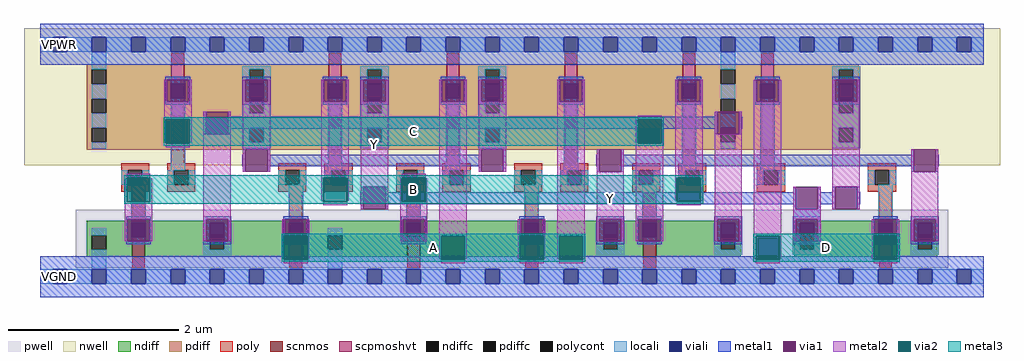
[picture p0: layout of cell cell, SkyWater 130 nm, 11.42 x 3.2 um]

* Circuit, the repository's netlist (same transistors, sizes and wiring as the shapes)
* Generated reference circuit; dimensions in micrometers.
.subckt dd2_gb2__f17ff_1 A B C D VGND VNB VPB VPWR Y
XM0 Y D _net1 VNB sky130_fd_pr__nfet_01v8 w=0.420 l=0.150
XM1 _net1 A _net2 VNB sky130_fd_pr__nfet_01v8 w=0.420 l=0.150
XM2 _net2 B VGND VNB sky130_fd_pr__nfet_01v8 w=0.420 l=0.150
XM3 _net1 C _net3 VNB sky130_fd_pr__nfet_01v8 w=0.420 l=0.150
XM4 _net3 A VGND VNB sky130_fd_pr__nfet_01v8 w=0.420 l=0.150
XM5 _net3 B VGND VNB sky130_fd_pr__nfet_01v8 w=0.420 l=0.150
XM6 Y D VPWR VPB sky130_fd_pr__pfet_01v8_hvt w=1.000 l=0.150
XM7 Y A _net4 VPB sky130_fd_pr__pfet_01v8_hvt w=1.000 l=0.150
XM8 Y B _net4 VPB sky130_fd_pr__pfet_01v8_hvt w=1.000 l=0.150
XM9 _net4 C VPWR VPB sky130_fd_pr__pfet_01v8_hvt w=1.000 l=0.150
XM10 _net4 A _net5 VPB sky130_fd_pr__pfet_01v8_hvt w=1.000 l=0.150
XM11 _net5 B VPWR VPB sky130_fd_pr__pfet_01v8_hvt w=1.000 l=0.150
.ends dd2_gb2__f17ff_1

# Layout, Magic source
magic
tech sky130A
magscale 1 2
<< nwell >>
rect -38 261 2246 582
<< pwell >>
rect 83 21 2125 157
<< scnmos >>
rect 215 47 245 131
rect 583 47 613 131
rect 859 47 889 131
rect 1135 47 1165 131
rect 1411 47 1441 131
rect 1963 47 1993 131
<< scpmoshvt >>
rect 307 297 337 497
rect 675 297 705 497
rect 951 297 981 497
rect 1227 297 1257 497
rect 1503 297 1533 497
rect 1687 297 1717 497
<< ndiff >>
rect 109 97 215 131
rect 109 63 121 97
rect 155 63 215 97
rect 109 47 215 63
rect 245 97 583 131
rect 245 63 397 97
rect 431 63 583 97
rect 245 47 583 63
rect 613 97 859 131
rect 613 63 673 97
rect 707 63 859 97
rect 613 47 859 63
rect 889 47 1135 131
rect 1165 97 1411 131
rect 1165 63 1317 97
rect 1351 63 1411 97
rect 1165 47 1411 63
rect 1441 97 1639 131
rect 1441 63 1593 97
rect 1627 63 1639 97
rect 1441 47 1639 63
rect 1765 97 1963 131
rect 1765 63 1777 97
rect 1811 63 1963 97
rect 1765 47 1963 63
rect 1993 97 2099 131
rect 1993 63 2053 97
rect 2087 63 2099 97
rect 1993 47 2099 63
<< pdiff >>
rect 109 485 307 497
rect 109 451 121 485
rect 155 451 307 485
rect 109 417 307 451
rect 109 383 121 417
rect 155 383 307 417
rect 109 349 307 383
rect 109 315 121 349
rect 155 315 307 349
rect 109 297 307 315
rect 337 485 675 497
rect 337 451 489 485
rect 523 451 675 485
rect 337 417 675 451
rect 337 383 489 417
rect 523 383 675 417
rect 337 349 675 383
rect 337 315 489 349
rect 523 315 675 349
rect 337 297 675 315
rect 705 485 951 497
rect 705 451 765 485
rect 799 451 951 485
rect 705 417 951 451
rect 705 383 765 417
rect 799 383 951 417
rect 705 349 951 383
rect 705 315 765 349
rect 799 315 951 349
rect 705 297 951 315
rect 981 485 1227 497
rect 981 451 1041 485
rect 1075 451 1227 485
rect 981 417 1227 451
rect 981 383 1041 417
rect 1075 383 1227 417
rect 981 349 1227 383
rect 981 315 1041 349
rect 1075 315 1227 349
rect 981 297 1227 315
rect 1257 297 1503 497
rect 1533 485 1687 497
rect 1533 451 1593 485
rect 1627 451 1687 485
rect 1533 417 1687 451
rect 1533 383 1593 417
rect 1627 383 1687 417
rect 1533 349 1687 383
rect 1533 315 1593 349
rect 1627 315 1687 349
rect 1533 297 1687 315
rect 1717 485 1915 497
rect 1717 451 1869 485
rect 1903 451 1915 485
rect 1717 417 1915 451
rect 1717 383 1869 417
rect 1903 383 1915 417
rect 1717 349 1915 383
rect 1717 315 1869 349
rect 1903 315 1915 349
rect 1717 297 1915 315
<< ndiffc >>
rect 121 63 155 97
rect 397 63 431 97
rect 673 63 707 97
rect 1317 63 1351 97
rect 1593 63 1627 97
rect 1777 63 1811 97
rect 2053 63 2087 97
<< pdiffc >>
rect 121 451 155 485
rect 121 383 155 417
rect 121 315 155 349
rect 489 451 523 485
rect 489 383 523 417
rect 489 315 523 349
rect 765 451 799 485
rect 765 383 799 417
rect 765 315 799 349
rect 1041 451 1075 485
rect 1041 383 1075 417
rect 1041 315 1075 349
rect 1593 451 1627 485
rect 1593 383 1627 417
rect 1593 315 1627 349
rect 1869 451 1903 485
rect 1869 383 1903 417
rect 1869 315 1903 349
<< poly >>
rect 307 497 337 523
rect 675 497 705 523
rect 951 497 981 523
rect 1227 497 1257 523
rect 1503 497 1533 523
rect 1687 497 1717 523
rect 307 265 337 297
rect 675 265 705 297
rect 951 265 981 297
rect 1227 265 1257 297
rect 1503 265 1533 297
rect 1687 265 1717 297
rect 189 249 255 265
rect 189 215 205 249
rect 239 215 255 249
rect 189 199 255 215
rect 297 249 363 265
rect 297 215 313 249
rect 347 215 363 249
rect 297 199 363 215
rect 557 249 623 265
rect 557 215 573 249
rect 607 215 623 249
rect 557 199 623 215
rect 665 249 731 265
rect 665 215 681 249
rect 715 215 731 249
rect 665 199 731 215
rect 833 249 899 265
rect 833 215 849 249
rect 883 215 899 249
rect 833 199 899 215
rect 941 249 1007 265
rect 941 215 957 249
rect 991 215 1007 249
rect 941 199 1007 215
rect 1109 249 1175 265
rect 1109 215 1125 249
rect 1159 215 1175 249
rect 1109 199 1175 215
rect 1217 249 1283 265
rect 1217 215 1233 249
rect 1267 215 1283 249
rect 1217 199 1283 215
rect 1385 249 1451 265
rect 1385 215 1401 249
rect 1435 215 1451 249
rect 1385 199 1451 215
rect 1493 249 1559 265
rect 1493 215 1509 249
rect 1543 215 1559 249
rect 1493 199 1559 215
rect 1677 249 1743 265
rect 1677 215 1693 249
rect 1727 215 1743 249
rect 1677 199 1743 215
rect 1937 249 2003 265
rect 1937 215 1953 249
rect 1987 215 2003 249
rect 1937 199 2003 215
rect 215 131 245 199
rect 583 131 613 199
rect 859 131 889 199
rect 1135 131 1165 199
rect 1411 131 1441 199
rect 1963 131 1993 199
rect 215 21 245 47
rect 583 21 613 47
rect 859 21 889 47
rect 1135 21 1165 47
rect 1411 21 1441 47
rect 1963 21 1993 47
<< polycont >>
rect 205 215 239 249
rect 313 215 347 249
rect 573 215 607 249
rect 681 215 715 249
rect 849 215 883 249
rect 957 215 991 249
rect 1125 215 1159 249
rect 1233 215 1267 249
rect 1401 215 1435 249
rect 1509 215 1543 249
rect 1693 215 1727 249
rect 1953 215 1987 249
<< locali >>
rect 0 527 29 561
rect 63 527 121 561
rect 155 527 213 561
rect 247 527 305 561
rect 339 527 397 561
rect 431 527 489 561
rect 523 527 581 561
rect 615 527 673 561
rect 707 527 765 561
rect 799 527 857 561
rect 891 527 949 561
rect 983 527 1041 561
rect 1075 527 1133 561
rect 1167 527 1225 561
rect 1259 527 1317 561
rect 1351 527 1409 561
rect 1443 527 1501 561
rect 1535 527 1593 561
rect 1627 527 1685 561
rect 1719 527 1777 561
rect 1811 527 1869 561
rect 1903 527 1961 561
rect 1995 527 2053 561
rect 2087 527 2145 561
rect 2179 527 2208 561
rect 121 485 155 527
rect 473 485 539 493
rect 121 417 155 451
rect 121 349 155 383
rect 121 299 155 315
rect 305 452 339 468
rect 305 249 339 418
rect 473 418 489 485
rect 523 418 539 485
rect 749 485 815 493
rect 473 417 539 418
rect 473 383 489 417
rect 523 383 539 417
rect 473 349 539 383
rect 473 315 489 349
rect 523 315 539 349
rect 473 301 539 315
rect 673 452 707 468
rect 673 249 707 418
rect 749 418 765 485
rect 799 418 815 485
rect 1025 485 1091 493
rect 749 417 815 418
rect 749 383 765 417
rect 799 383 815 417
rect 749 349 815 383
rect 749 315 765 349
rect 799 315 815 349
rect 749 301 815 315
rect 949 452 983 468
rect 949 249 983 418
rect 1025 418 1041 485
rect 1075 418 1091 485
rect 1593 485 1627 527
rect 1025 417 1091 418
rect 1025 383 1041 417
rect 1075 383 1091 417
rect 1025 349 1091 383
rect 1025 315 1041 349
rect 1075 315 1091 349
rect 1025 301 1091 315
rect 1225 452 1259 468
rect 1225 249 1259 418
rect 1501 452 1535 468
rect 1501 249 1535 418
rect 1853 485 1919 493
rect 1593 417 1627 451
rect 1593 349 1627 383
rect 1593 299 1627 315
rect 1685 452 1719 468
rect 1685 249 1719 418
rect 1853 418 1869 485
rect 1903 418 1919 485
rect 1853 417 1919 418
rect 1853 383 1869 417
rect 1903 383 1919 417
rect 1853 349 1919 383
rect 1853 315 1869 349
rect 1903 315 1919 349
rect 1853 301 1919 315
rect 189 215 205 249
rect 239 215 255 249
rect 297 215 313 249
rect 347 215 363 249
rect 557 215 573 249
rect 607 215 623 249
rect 665 215 681 249
rect 715 215 731 249
rect 833 215 849 249
rect 883 215 899 249
rect 941 215 957 249
rect 991 215 1007 249
rect 1109 215 1125 249
rect 1159 215 1175 249
rect 1217 215 1233 249
rect 1267 215 1283 249
rect 1385 215 1401 249
rect 1435 215 1451 249
rect 1493 215 1509 249
rect 1543 215 1559 249
rect 1677 215 1693 249
rect 1727 215 1743 249
rect 1937 215 1953 249
rect 1987 215 2003 249
rect 213 126 247 215
rect 121 97 155 113
rect 213 76 247 92
rect 381 126 447 142
rect 121 17 155 63
rect 381 63 397 126
rect 431 63 447 126
rect 581 126 615 215
rect 857 126 891 215
rect 581 76 615 92
rect 673 97 707 113
rect 381 51 447 63
rect 857 76 891 92
rect 1133 126 1167 215
rect 1133 76 1167 92
rect 1301 126 1367 142
rect 673 17 707 63
rect 1301 63 1317 126
rect 1351 63 1367 126
rect 1409 126 1443 215
rect 1409 76 1443 92
rect 1577 126 1643 142
rect 1301 51 1367 63
rect 1577 63 1593 126
rect 1627 63 1643 126
rect 1577 51 1643 63
rect 1761 126 1827 142
rect 1761 63 1777 126
rect 1811 63 1827 126
rect 1961 126 1995 215
rect 1961 76 1995 92
rect 2037 126 2103 142
rect 1761 51 1827 63
rect 2037 63 2053 126
rect 2087 63 2103 126
rect 2037 51 2103 63
rect 0 -17 29 17
rect 63 -17 121 17
rect 155 -17 213 17
rect 247 -17 305 17
rect 339 -17 397 17
rect 431 -17 489 17
rect 523 -17 581 17
rect 615 -17 673 17
rect 707 -17 765 17
rect 799 -17 857 17
rect 891 -17 949 17
rect 983 -17 1041 17
rect 1075 -17 1133 17
rect 1167 -17 1225 17
rect 1259 -17 1317 17
rect 1351 -17 1409 17
rect 1443 -17 1501 17
rect 1535 -17 1593 17
rect 1627 -17 1685 17
rect 1719 -17 1777 17
rect 1811 -17 1869 17
rect 1903 -17 1961 17
rect 1995 -17 2053 17
rect 2087 -17 2145 17
rect 2179 -17 2208 17
<< viali >>
rect 29 527 63 561
rect 121 527 155 561
rect 213 527 247 561
rect 305 527 339 561
rect 397 527 431 561
rect 489 527 523 561
rect 581 527 615 561
rect 673 527 707 561
rect 765 527 799 561
rect 857 527 891 561
rect 949 527 983 561
rect 1041 527 1075 561
rect 1133 527 1167 561
rect 1225 527 1259 561
rect 1317 527 1351 561
rect 1409 527 1443 561
rect 1501 527 1535 561
rect 1593 527 1627 561
rect 1685 527 1719 561
rect 1777 527 1811 561
rect 1869 527 1903 561
rect 1961 527 1995 561
rect 2053 527 2087 561
rect 2145 527 2179 561
rect 305 418 339 452
rect 489 451 523 452
rect 489 418 523 451
rect 673 418 707 452
rect 765 451 799 452
rect 765 418 799 451
rect 949 418 983 452
rect 1041 451 1075 452
rect 1041 418 1075 451
rect 1225 418 1259 452
rect 1501 418 1535 452
rect 1685 418 1719 452
rect 1869 451 1903 452
rect 1869 418 1903 451
rect 213 92 247 126
rect 397 97 431 126
rect 397 92 431 97
rect 581 92 615 126
rect 857 92 891 126
rect 1133 92 1167 126
rect 1317 97 1351 126
rect 1317 92 1351 97
rect 1409 92 1443 126
rect 1593 97 1627 126
rect 1593 92 1627 97
rect 1777 97 1811 126
rect 1777 92 1811 97
rect 1961 92 1995 126
rect 2053 97 2087 126
rect 2053 92 2087 97
rect 29 -17 63 17
rect 121 -17 155 17
rect 213 -17 247 17
rect 305 -17 339 17
rect 397 -17 431 17
rect 489 -17 523 17
rect 581 -17 615 17
rect 673 -17 707 17
rect 765 -17 799 17
rect 857 -17 891 17
rect 949 -17 983 17
rect 1041 -17 1075 17
rect 1133 -17 1167 17
rect 1225 -17 1259 17
rect 1317 -17 1351 17
rect 1409 -17 1443 17
rect 1501 -17 1535 17
rect 1593 -17 1627 17
rect 1685 -17 1719 17
rect 1777 -17 1811 17
rect 1869 -17 1903 17
rect 1961 -17 1995 17
rect 2053 -17 2087 17
rect 2145 -17 2179 17
<< metal1 >>
rect 0 561 2208 592
rect 0 527 29 561
rect 63 527 121 561
rect 155 527 213 561
rect 247 527 305 561
rect 339 527 397 561
rect 431 527 489 561
rect 523 527 581 561
rect 615 527 673 561
rect 707 527 765 561
rect 799 527 857 561
rect 891 527 949 561
rect 983 527 1041 561
rect 1075 527 1133 561
rect 1167 527 1225 561
rect 1259 527 1317 561
rect 1351 527 1409 561
rect 1443 527 1501 561
rect 1535 527 1593 561
rect 1627 527 1685 561
rect 1719 527 1777 561
rect 1811 527 1869 561
rect 1903 527 1961 561
rect 1995 527 2053 561
rect 2087 527 2145 561
rect 2179 527 2208 561
rect 0 496 2208 527
rect 293 461 351 468
rect 293 409 296 461
rect 348 409 351 461
rect 293 402 351 409
rect 473 461 539 468
rect 473 409 480 461
rect 532 409 539 461
rect 473 402 539 409
rect 661 461 719 468
rect 661 409 664 461
rect 716 409 719 461
rect 661 402 719 409
rect 749 461 815 468
rect 749 409 756 461
rect 808 409 815 461
rect 749 402 815 409
rect 937 461 995 468
rect 937 409 940 461
rect 992 409 995 461
rect 937 402 995 409
rect 1025 461 1091 468
rect 1025 409 1032 461
rect 1084 409 1091 461
rect 1025 402 1091 409
rect 1213 461 1271 468
rect 1213 409 1216 461
rect 1268 409 1271 461
rect 1213 402 1271 409
rect 1489 461 1547 468
rect 1489 409 1492 461
rect 1544 409 1547 461
rect 1489 402 1547 409
rect 1673 461 1731 468
rect 1673 409 1676 461
rect 1728 409 1731 461
rect 1673 402 1731 409
rect 1853 461 1919 468
rect 1853 409 1860 461
rect 1912 409 1919 461
rect 1853 402 1919 409
rect 382 374 388 386
rect 381 346 388 374
rect 382 334 388 346
rect 440 374 446 386
rect 1578 374 1584 386
rect 440 346 1584 374
rect 440 334 446 346
rect 1578 334 1584 346
rect 1636 374 1642 386
rect 1636 346 1643 374
rect 1636 334 1642 346
rect 474 286 480 298
rect 473 258 480 286
rect 474 246 480 258
rect 532 286 538 298
rect 1026 286 1032 298
rect 532 258 1032 286
rect 532 246 538 258
rect 1026 246 1032 258
rect 1084 286 1090 298
rect 1302 286 1308 298
rect 1084 258 1091 286
rect 1301 258 1308 286
rect 1084 246 1090 258
rect 1302 246 1308 258
rect 1360 286 1366 298
rect 2038 286 2044 298
rect 1360 258 2044 286
rect 1360 246 1366 258
rect 2038 246 2044 258
rect 2096 286 2102 298
rect 2096 258 2103 286
rect 2096 246 2102 258
rect 750 198 756 210
rect 749 170 756 198
rect 750 158 756 170
rect 808 198 814 210
rect 1762 198 1768 210
rect 808 170 1768 198
rect 808 158 814 170
rect 1762 158 1768 170
rect 1820 198 1826 210
rect 1854 198 1860 210
rect 1820 170 1860 198
rect 1820 158 1826 170
rect 1854 158 1860 170
rect 1912 198 1918 210
rect 1912 170 1919 198
rect 1912 158 1918 170
rect 1762 142 1826 158
rect 201 135 259 142
rect 201 83 204 135
rect 256 83 259 135
rect 201 76 259 83
rect 381 135 447 142
rect 381 83 388 135
rect 440 83 447 135
rect 381 76 447 83
rect 569 135 627 142
rect 569 83 572 135
rect 624 83 627 135
rect 569 76 627 83
rect 845 135 903 142
rect 845 83 848 135
rect 900 83 903 135
rect 845 76 903 83
rect 1121 135 1179 142
rect 1121 83 1124 135
rect 1176 83 1179 135
rect 1121 76 1179 83
rect 1301 135 1367 142
rect 1301 83 1308 135
rect 1360 83 1367 135
rect 1301 76 1367 83
rect 1397 135 1455 142
rect 1397 83 1400 135
rect 1452 83 1455 135
rect 1397 76 1455 83
rect 1577 135 1643 142
rect 1577 83 1584 135
rect 1636 83 1643 135
rect 1577 76 1643 83
rect 1761 135 1827 142
rect 1761 83 1768 135
rect 1820 83 1827 135
rect 1761 76 1827 83
rect 1949 135 2007 142
rect 1949 83 1952 135
rect 2004 83 2007 135
rect 1949 76 2007 83
rect 2037 135 2103 142
rect 2037 83 2044 135
rect 2096 83 2103 135
rect 2037 76 2103 83
rect 0 17 2208 48
rect 0 -17 29 17
rect 63 -17 121 17
rect 155 -17 213 17
rect 247 -17 305 17
rect 339 -17 397 17
rect 431 -17 489 17
rect 523 -17 581 17
rect 615 -17 673 17
rect 707 -17 765 17
rect 799 -17 857 17
rect 891 -17 949 17
rect 983 -17 1041 17
rect 1075 -17 1133 17
rect 1167 -17 1225 17
rect 1259 -17 1317 17
rect 1351 -17 1409 17
rect 1443 -17 1501 17
rect 1535 -17 1593 17
rect 1627 -17 1685 17
rect 1719 -17 1777 17
rect 1811 -17 1869 17
rect 1903 -17 1961 17
rect 1995 -17 2053 17
rect 2087 -17 2145 17
rect 2179 -17 2208 17
rect 0 -48 2208 -17
<< via1 >>
rect 296 452 348 461
rect 296 418 305 452
rect 305 418 339 452
rect 339 418 348 452
rect 296 409 348 418
rect 480 452 532 461
rect 480 418 489 452
rect 489 418 523 452
rect 523 418 532 452
rect 480 409 532 418
rect 664 452 716 461
rect 664 418 673 452
rect 673 418 707 452
rect 707 418 716 452
rect 664 409 716 418
rect 756 452 808 461
rect 756 418 765 452
rect 765 418 799 452
rect 799 418 808 452
rect 756 409 808 418
rect 940 452 992 461
rect 940 418 949 452
rect 949 418 983 452
rect 983 418 992 452
rect 940 409 992 418
rect 1032 452 1084 461
rect 1032 418 1041 452
rect 1041 418 1075 452
rect 1075 418 1084 452
rect 1032 409 1084 418
rect 1216 452 1268 461
rect 1216 418 1225 452
rect 1225 418 1259 452
rect 1259 418 1268 452
rect 1216 409 1268 418
rect 1492 452 1544 461
rect 1492 418 1501 452
rect 1501 418 1535 452
rect 1535 418 1544 452
rect 1492 409 1544 418
rect 1676 452 1728 461
rect 1676 418 1685 452
rect 1685 418 1719 452
rect 1719 418 1728 452
rect 1676 409 1728 418
rect 1860 452 1912 461
rect 1860 418 1869 452
rect 1869 418 1903 452
rect 1903 418 1912 452
rect 1860 409 1912 418
rect 388 334 440 386
rect 1584 334 1636 386
rect 480 246 532 298
rect 1032 246 1084 298
rect 1308 246 1360 298
rect 2044 246 2096 298
rect 756 158 808 210
rect 1768 158 1820 210
rect 1860 158 1912 210
rect 204 126 256 135
rect 204 92 213 126
rect 213 92 247 126
rect 247 92 256 126
rect 204 83 256 92
rect 388 126 440 135
rect 388 92 397 126
rect 397 92 431 126
rect 431 92 440 126
rect 388 83 440 92
rect 572 126 624 135
rect 572 92 581 126
rect 581 92 615 126
rect 615 92 624 126
rect 572 83 624 92
rect 848 126 900 135
rect 848 92 857 126
rect 857 92 891 126
rect 891 92 900 126
rect 848 83 900 92
rect 1124 126 1176 135
rect 1124 92 1133 126
rect 1133 92 1167 126
rect 1167 92 1176 126
rect 1124 83 1176 92
rect 1308 126 1360 135
rect 1308 92 1317 126
rect 1317 92 1351 126
rect 1351 92 1360 126
rect 1308 83 1360 92
rect 1400 126 1452 135
rect 1400 92 1409 126
rect 1409 92 1443 126
rect 1443 92 1452 126
rect 1400 83 1452 92
rect 1584 126 1636 135
rect 1584 92 1593 126
rect 1593 92 1627 126
rect 1627 92 1636 126
rect 1584 83 1636 92
rect 1768 126 1820 135
rect 1768 92 1777 126
rect 1777 92 1811 126
rect 1811 92 1820 126
rect 1768 83 1820 92
rect 1952 126 2004 135
rect 1952 92 1961 126
rect 1961 92 1995 126
rect 1995 92 2004 126
rect 1952 83 2004 92
rect 2044 126 2096 135
rect 2044 92 2053 126
rect 2053 92 2087 126
rect 2087 92 2096 126
rect 2044 83 2096 92
<< metal2 >>
rect 290 409 296 461
rect 348 409 354 461
rect 290 368 354 409
rect 474 409 480 461
rect 532 409 538 461
rect 290 314 294 368
rect 350 314 354 368
rect 382 334 388 386
rect 440 334 446 386
rect 294 303 350 312
rect 202 232 258 241
rect 198 176 202 230
rect 258 176 262 230
rect 198 135 262 176
rect 198 83 204 135
rect 256 83 262 135
rect 382 135 446 334
rect 474 298 538 409
rect 474 246 480 298
rect 532 246 538 298
rect 658 409 664 461
rect 716 409 722 461
rect 658 232 722 409
rect 658 178 662 232
rect 718 178 722 232
rect 750 409 756 461
rect 808 409 814 461
rect 750 210 814 409
rect 934 409 940 461
rect 992 409 998 461
rect 846 232 902 241
rect 662 167 718 176
rect 750 158 756 210
rect 808 158 814 210
rect 842 176 846 230
rect 902 176 906 230
rect 842 135 906 176
rect 382 83 388 135
rect 440 83 446 135
rect 566 96 572 135
rect 624 96 630 135
rect 566 42 570 96
rect 626 42 630 96
rect 842 83 848 135
rect 900 83 906 135
rect 934 96 998 409
rect 1026 409 1032 461
rect 1084 409 1090 461
rect 1026 298 1090 409
rect 1026 246 1032 298
rect 1084 246 1090 298
rect 1210 409 1216 461
rect 1268 409 1274 461
rect 934 42 938 96
rect 570 31 626 40
rect 994 42 998 96
rect 1118 96 1124 135
rect 1176 96 1182 135
rect 1118 42 1122 96
rect 938 31 994 40
rect 1178 42 1182 96
rect 1210 96 1274 409
rect 1486 409 1492 461
rect 1544 409 1550 461
rect 1398 368 1454 377
rect 1394 312 1398 366
rect 1454 312 1458 366
rect 1210 42 1214 96
rect 1122 31 1178 40
rect 1270 42 1274 96
rect 1302 246 1308 298
rect 1360 246 1366 298
rect 1302 135 1366 246
rect 1302 83 1308 135
rect 1360 83 1366 135
rect 1394 135 1458 312
rect 1486 232 1550 409
rect 1670 409 1676 461
rect 1728 409 1734 461
rect 1486 178 1490 232
rect 1546 178 1550 232
rect 1578 334 1584 386
rect 1636 334 1642 386
rect 1490 167 1546 176
rect 1394 83 1400 135
rect 1452 83 1458 135
rect 1578 135 1642 334
rect 1578 83 1584 135
rect 1636 83 1642 135
rect 1670 96 1734 409
rect 1854 409 1860 461
rect 1912 409 1918 461
rect 1854 210 1918 409
rect 1670 42 1674 96
rect 1214 31 1270 40
rect 1730 42 1734 96
rect 1762 158 1768 210
rect 1820 158 1826 210
rect 1854 158 1860 210
rect 1912 158 1918 210
rect 2038 246 2044 298
rect 2096 246 2102 298
rect 1762 135 1826 158
rect 2038 135 2102 246
rect 1762 83 1768 135
rect 1820 83 1826 135
rect 1946 96 1952 135
rect 2004 96 2010 135
rect 1946 42 1950 96
rect 1674 31 1730 40
rect 2006 42 2010 96
rect 2038 83 2044 135
rect 2096 83 2102 135
rect 1950 31 2006 40
<< via2 >>
rect 294 312 350 368
rect 202 176 258 232
rect 662 176 718 232
rect 846 176 902 232
rect 570 83 572 96
rect 572 83 624 96
rect 624 83 626 96
rect 570 40 626 83
rect 938 40 994 96
rect 1122 83 1124 96
rect 1124 83 1176 96
rect 1176 83 1178 96
rect 1122 40 1178 83
rect 1398 312 1454 368
rect 1214 40 1270 96
rect 1490 176 1546 232
rect 1674 40 1730 96
rect 1950 83 1952 96
rect 1952 83 2004 96
rect 2004 83 2006 96
rect 1950 40 2006 83
<< metal3 >>
rect 289 368 1459 373
rect 289 312 294 368
rect 350 312 1398 368
rect 1454 312 1459 368
rect 289 307 1459 312
rect 197 232 1551 237
rect 197 176 202 232
rect 258 176 662 232
rect 718 176 846 232
rect 902 176 1490 232
rect 1546 176 1551 232
rect 197 171 1551 176
rect 565 96 1275 101
rect 565 40 570 96
rect 626 40 938 96
rect 994 40 1122 96
rect 1178 40 1214 96
rect 1270 40 1275 96
rect 565 35 1275 40
rect 1669 96 2011 101
rect 1669 40 1674 96
rect 1730 40 1950 96
rect 2006 40 2011 96
rect 1669 35 2011 40
<< labels >>
rlabel metal1 s 46 0 46 0 4 VGND
port 5 se
rlabel metal1 s 46 544 46 544 4 VPWR
port 8 se
rlabel metal1 s 1334 184 1334 184 4 Y
rlabel metal2 s 782 309 782 309 4 Y
port 9 se
rlabel nwell s 46 544 46 544 4 VPB
port 7 se
rlabel pwell s 46 0 46 0 4 VNB
port 6 se
rlabel metal3 s 920 68 920 68 4 A
port 1 se
rlabel metal3 s 874 204 874 204 4 B
port 2 se
rlabel metal3 s 874 340 874 340 4 C
port 3 se
rlabel metal3 s 1840 68 1840 68 4 D
port 4 se
<< properties >>
string FIXED_BBOX 0 0 4416 1088
<< end >>
